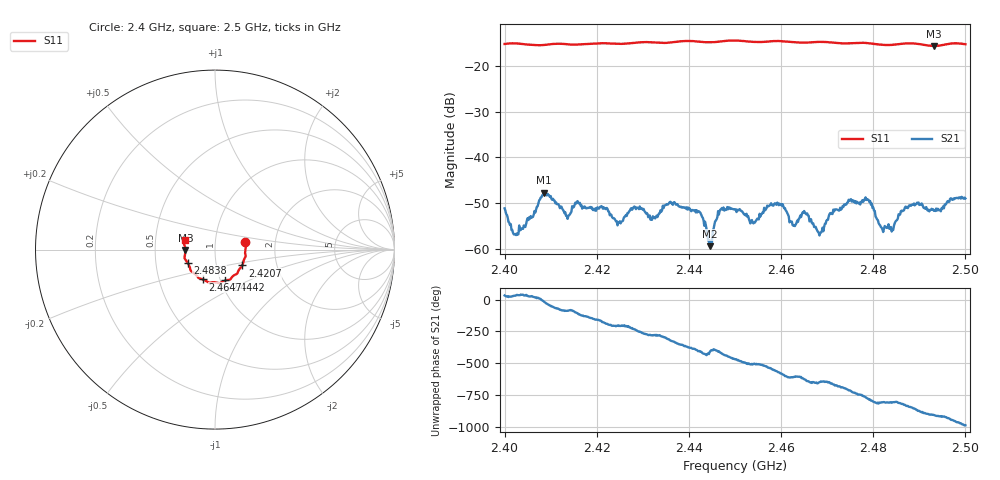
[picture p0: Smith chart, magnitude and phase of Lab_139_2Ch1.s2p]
# Hz S RI R
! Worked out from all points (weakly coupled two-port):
!   601 points, 2.4 GHz to 2.5 GHz, reference 50 ohm
!   highest |S21| = -47.74 dB at 2.4085 GHz (marker M1); lowest = -59.4 dB at 2.4445 GHz (marker M2)
!   lowest |S11| = -15.6 dB at 2.4932 GHz (marker M3), VSWR 1.40, Z = 35.8 - j0.181 ohm
!   |S11| at or under -10 dB: start of sweep to end of sweep
!   S12 and S22 are empty: the file has one direction only
!   S11 on the Smith chart (normalised r, x): 2.4 GHz: 1.40, +0.12; 2.4207 GHz: 1.34, -0.24; 2.4442 GHz: 1.06, -0.37; 2.4647 GHz: 0.83, -0.29; 2.4838 GHz: 0.73, -0.11; 2.5 GHz: 0.71, +0.07
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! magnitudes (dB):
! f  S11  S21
! 2.4 GHz  -15.2  -51.2
! 2.4025 GHz  -15.1  -57.0
! 2.4085 GHz  -15.4  -47.7
! 2.4135 GHz  -15.3  -52.7
! 2.4167 GHz  -15.3  -50.5
! 2.4207 GHz  -15.1  -50.9
! 2.4247 GHz  -15.2  -54.2
! 2.4333 GHz  -14.9  -52.6
! 2.4418 GHz  -14.7  -52.0
! 2.4442 GHz  -14.8  -58.2
! 2.4445 GHz  -14.8  -59.4
! 2.4468 GHz  -14.7  -51.4
! 2.45 GHz  -14.5  -51.4
! 2.4647 GHz  -14.9  -52.1
! 2.4667 GHz  -14.8  -54.3
! 2.4687 GHz  -14.7  -56.4
! 2.4785 GHz  -15.0  -49.3
! 2.4833 GHz  -15.5  -54.6
! 2.4838 GHz  -15.4  -55.2
! 2.4883 GHz  -15.1  -50.4
! 2.4932 GHz  -15.6  -51.7
! 2.5 GHz  -15.3  -49.0
